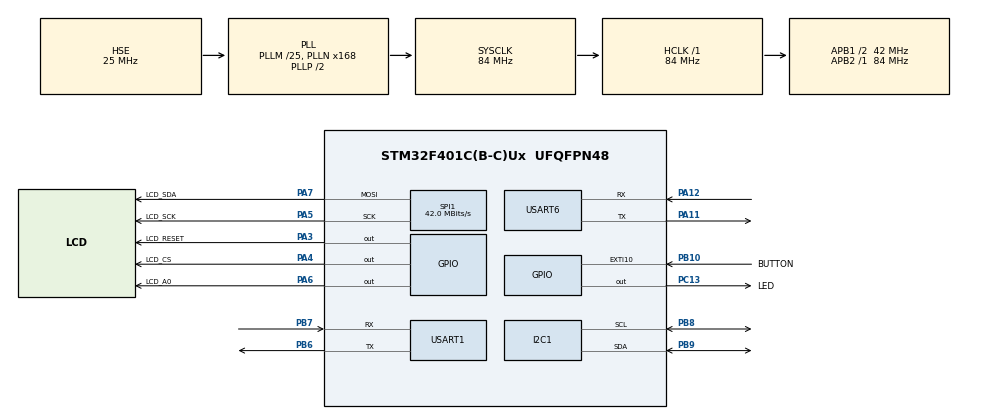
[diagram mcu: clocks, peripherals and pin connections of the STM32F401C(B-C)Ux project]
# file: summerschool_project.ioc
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Dma.Request0=USART1_RX
Dma.USART1_RX.0.Direction=DMA_PERIPH_TO_MEMORY
Dma.USART1_RX.0.FIFOMode=DMA_FIFOMODE_DISABLE
Dma.USART1_RX.0.Instance=DMA2_Stream2
Dma.USART1_RX.0.MemDataAlignment=DMA_MDATAALIGN_BYTE
Dma.USART1_RX.0.MemInc=DMA_MINC_ENABLE
Dma.USART1_RX.0.Mode=DMA_CIRCULAR
Dma.USART1_RX.0.PeriphDataAlignment=DMA_PDATAALIGN_BYTE
Dma.USART1_RX.0.PeriphInc=DMA_PINC_DISABLE
Dma.USART1_RX.0.Priority=DMA_PRIORITY_MEDIUM
FREERTOS.BinarySemaphores01=semUART_TX_WIFI,Dynamic,NULL;semUART_RX_WIFI,Dynamic,NULL
FREERTOS.Mutexes01=muxUART_LOG,Dynamic,NULL;muxLCD,Dynamic,NULL;muxUART_WIFI,Dynamic,NULL
FREERTOS.Tasks01=taskWIFI,24,128,StartTaskWIFI,Default,NULL,Dynamic,NULL,NULL
FREERTOS.configTICK_RATE_HZ=500
FREERTOS.configUSE_NEWLIB_REENTRANT=1
Mcu.Family=STM32F4
Mcu.Name=STM32F401C(B-C)Ux
Mcu.Package=UFQFPN48
NVIC.DMA2_Stream2_IRQn=true\:5\:0\:false\:false\:true\:true\:false\:true\:true
NVIC.EXTI15_10_IRQn=true\:5\:0\:false\:false\:true\:true\:true\:true\:true
NVIC.PriorityGroup=NVIC_PRIORITYGROUP_4
NVIC.TIM1_BRK_TIM9_IRQn=true\:5\:0\:false\:false\:true\:true\:true\:true\:true
NVIC.USART6_IRQn=true\:5\:0\:false\:false\:true\:true\:true\:true\:true
PA11.Mode=Asynchronous
PA11.Signal=USART6_TX
PA12.Mode=Asynchronous
PA12.Signal=USART6_RX
PA13.Mode=Serial_Wire
PA13.Signal=SYS_JTMS-SWDIO
PA14.Mode=Serial_Wire
PA14.Signal=SYS_JTCK-SWCLK
PA3.GPIO_Label=LCD_RESET
PA3.PinState=GPIO_PIN_SET
PA3.Signal=GPIO_Output
PA4.GPIO_Label=LCD_CS
PA4.PinState=GPIO_PIN_SET
PA4.Signal=GPIO_Output
PA5.GPIO_Label=LCD_SCK
PA5.Mode=TX_Only_Simplex_Unidirect_Master
PA5.Signal=SPI1_SCK
PA6.GPIO_Label=LCD_A0
PA6.PinState=GPIO_PIN_SET
PA6.Signal=GPIO_Output
PA7.GPIO_Label=LCD_SDA
PA7.Mode=TX_Only_Simplex_Unidirect_Master
PA7.Signal=SPI1_MOSI
PB10.GPIO_Label=BUTTON
PB10.Signal=GPXTI10
PB6.Mode=Asynchronous
PB6.Signal=USART1_TX
PB7.Mode=Asynchronous
PB7.Signal=USART1_RX
PB8.GPIO_Pu=GPIO_PULLUP
PB8.Mode=I2C
PB8.Signal=I2C1_SCL
PB9.GPIO_Pu=GPIO_PULLUP
PB9.Mode=I2C
PB9.Signal=I2C1_SDA
PC13-ANTI_TAMP.GPIO_Label=LED
PC13-ANTI_TAMP.PinState=GPIO_PIN_SET
PC13-ANTI_TAMP.Signal=GPIO_Output
PH0\ -\ OSC_IN.Mode=HSE-External-Oscillator
PH0\ -\ OSC_IN.Signal=RCC_OSC_IN
PH1\ -\ OSC_OUT.Mode=HSE-External-Oscillator
PH1\ -\ OSC_OUT.Signal=RCC_OSC_OUT
ProjectManager.HeapSize=0x200
ProjectManager.StackSize=0x400
ProjectManager.TargetToolchain=STM32CubeIDE
RCC.48MHZClocksFreq_Value=42000000
RCC.AHBFreq_Value=84000000
RCC.APB1CLKDivider=RCC_HCLK_DIV2
RCC.APB1Freq_Value=42000000
RCC.APB1TimFreq_Value=84000000
RCC.APB2Freq_Value=84000000
RCC.APB2TimFreq_Value=84000000
RCC.CortexFreq_Value=84000000
RCC.HCLKFreq_Value=84000000
RCC.HSE_VALUE=25000000
RCC.HSI_VALUE=16000000
RCC.LSE_VALUE=32768
RCC.PLLM=25
RCC.PLLN=168
RCC.PLLSourceVirtual=RCC_PLLSOURCE_HSE
RCC.SYSCLKFreq_VALUE=84000000
RCC.SYSCLKSource=RCC_SYSCLKSOURCE_PLLCLK
RCC.VCOOutputFreq_Value=168000000
SPI1.CalculateBaudRate=42.0 MBits/s
SPI1.Direction=SPI_DIRECTION_2LINES
SPI1.Mode=SPI_MODE_MASTER
SPI1.VirtualType=VM_MASTER
TIM9.AutoReloadPreload=TIM_AUTORELOAD_PRELOAD_DISABLE
TIM9.Period=49999
TIM9.Prescaler=839
USART1.VirtualMode=VM_ASYNC
USART6.VirtualMode=VM_ASYNC
VP_FREERTOS_VS_CMSIS_V2.Mode=CMSIS_V2
VP_TIM9_VS_ClockSourceINT.Mode=Internal
board=custom

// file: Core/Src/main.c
/* USER CODE BEGIN Header */
/**
  ******************************************************************************
  * @file           : main.c
  * @brief          : Main program body
  ******************************************************************************
  * @attention
  *
  * Copyright (c) 2022 STMicroelectronics.
  * All rights reserved.
  *
  * This software is licensed under terms that can be found in the LICENSE file
  * in the root directory of this software component.
  * If no LICENSE file comes with this software, it is provided AS-IS.
  *
  ******************************************************************************
  */
/* USER CODE END Header */
#include "main.h"
#include "cmsis_os.h"

/* USER CODE BEGIN Includes */
#include "baro.h"
#include "lcd.h"
#include "wifi_at.h"
#include <stdio.h>	// snprintf
#include <string.h>	// memset
#include <math.h>	// sin
#include <stdlib.h>	// rand

/* USER CODE END Includes */

/* USER CODE BEGIN PD */
#define countof(_a)	(sizeof(_a) / sizeof(_a[0]))
#define UART_RX_BUF_SIZE	200

/* USER CODE END PD */

I2C_HandleTypeDef hi2c1;

SPI_HandleTypeDef hspi1;

TIM_HandleTypeDef htim9;

UART_HandleTypeDef huart1;
UART_HandleTypeDef huart6;
DMA_HandleTypeDef hdma_usart1_rx;

/* Definitions for taskWIFI */
osThreadId_t taskWIFIHandle;
const osThreadAttr_t taskWIFI_attributes = {
  .name = "taskWIFI",
  .stack_size = 128 * 4,
  .priority = (osPriority_t) osPriorityNormal,
};
/* Definitions for muxUART_LOG */
osMutexId_t muxUART_LOGHandle;
const osMutexAttr_t muxUART_LOG_attributes = {
  .name = "muxUART_LOG"
};
/* Definitions for muxLCD */
osMutexId_t muxLCDHandle;
const osMutexAttr_t muxLCD_attributes = {
  .name = "muxLCD"
};
/* Definitions for muxUART_WIFI */
osMutexId_t muxUART_WIFIHandle;
const osMutexAttr_t muxUART_WIFI_attributes = {
  .name = "muxUART_WIFI"
};
/* Definitions for semUART_TX_WIFI */
osSemaphoreId_t semUART_TX_WIFIHandle;
const osSemaphoreAttr_t semUART_TX_WIFI_attributes = {
  .name = "semUART_TX_WIFI"
};
/* Definitions for semUART_RX_WIFI */
osSemaphoreId_t semUART_RX_WIFIHandle;
const osSemaphoreAttr_t semUART_RX_WIFI_attributes = {
  .name = "semUART_RX_WIFI"
};
/* USER CODE BEGIN PV */
static uint8_t rx_buffer[UART_RX_BUF_SIZE];
static uint8_t *rx_head = rx_buffer, *rx_tail = rx_buffer;

/* USER CODE END PV */

void SystemClock_Config(void);
static void MX_GPIO_Init(void);
static void MX_DMA_Init(void);
static void MX_TIM9_Init(void);
static void MX_USART1_UART_Init(void);
static void MX_I2C1_Init(void);
static void MX_SPI1_Init(void);
static void MX_USART6_UART_Init(void);
void StartTaskWIFI(void *argument);

/* USER CODE BEGIN 0 */
char text[100];

int __io_getchar(void) {
	rx_head = &rx_buffer[UART_RX_BUF_SIZE - hdma_usart1_rx.Instance->NDTR];

	while (rx_tail == rx_head) {
		rx_head = &rx_buffer[UART_RX_BUF_SIZE - hdma_usart1_rx.Instance->NDTR];
 		osDelay(1);
	}

	uint8_t b = *rx_tail;

	if (++rx_tail == (rx_buffer + UART_RX_BUF_SIZE))
		rx_tail = rx_buffer;

	return (int)b;
}

int __io_putchar(int ch) {
	HAL_UART_Transmit(&huart1, (uint8_t*)&ch, 1, 100);
	return 0;
}

/* USER CODE END 0 */

int main(void)
{

  /* MCU Configuration--------------------------------------------------------*/

  /* Reset of all peripherals, Initializes the Flash interface and the Systick. */
  HAL_Init();

  /* Configure the system clock */
  SystemClock_Config();

  /* Initialize all configured peripherals */
  MX_GPIO_Init();
  MX_DMA_Init();
  MX_TIM9_Init();
  MX_USART1_UART_Init();
  MX_I2C1_Init();
  MX_SPI1_Init();
  MX_USART6_UART_Init();
  /* USER CODE BEGIN 2 */

  if (HAL_UART_Receive_DMA(&huart1, rx_buffer, sizeof(rx_buffer)) != HAL_OK) {
	  snprintf(text, countof(text), "Error start UART RX %d\n", __LINE__);
	  HAL_UART_Transmit(&huart1, (uint8_t*)text, strnlen(text, countof(text)), 1000);
	  while (1) {}
  }

  snprintf(text, countof(text), "Start UART RX %d\n", __LINE__);
  HAL_UART_Transmit(&huart1, (uint8_t*)text, strnlen(text, countof(text)), 1000);

//  if (baro_init() != BARO_OK) {
//	  snprintf(text, countof(text), "Error init baro\n");
//	  HAL_UART_Transmit(&huart1, (uint8_t*)text, strnlen(text, countof(text)), 1000);
//	  while (1) {}
//  }

//  for (uint16_t p = 0; p < 100; p++) {
//	  lcd_pixel(p, p+0, ST7735_RED);
//	  lcd_pixel(p, p+1, ST7735_GREEN);
//	  lcd_pixel(p, p+2, ST7735_BLUE);
//  }
//
//  lcd_fill_rect(10, 10, 50, 50, ST7735_CYAN);
//  lcd_fill_rect(50, 50, 150, 150, ST7735_MAGENTA);
//  lcd_rect(5, 5, 15, 15, ST77XX_ORANGE);
//  lcd_rect(200, 200, 15, 15, ST77XX_ORANGE);
//  lcd_line(13, 19, 37, 93, ST77XX_GREEN);
//  lcd_line(13, 19, 93, 37, ST77XX_GREEN);
//  lcd_circle(22, 55, 76, ST77XX_RED);
//  lcd_fill_circle(33, 66, 19, ST77XX_BLUE);
//  lcd_print("Hello LCD!");
//  lcd_set_text_color(ST7735_CYAN);
//  lcd_set_text_bg_color(ST7735_ORANGE);
//  lcd_print("\nNew line!");

  /* USER CODE END 2 */

  /* Init scheduler */
  osKernelInitialize();
  /* Create the mutex(es) */
  /* creation of muxUART_LOG */
  muxUART_LOGHandle = osMutexNew(&muxUART_LOG_attributes);

  /* creation of muxLCD */
  muxLCDHandle = osMutexNew(&muxLCD_attributes);

  /* creation of muxUART_WIFI */
  muxUART_WIFIHandle = osMutexNew(&muxUART_WIFI_attributes);

  /* Create the semaphores(s) */
  /* creation of semUART_TX_WIFI */
  semUART_TX_WIFIHandle = osSemaphoreNew(1, 1, &semUART_TX_WIFI_attributes);

  /* creation of semUART_RX_WIFI */
  semUART_RX_WIFIHandle = osSemaphoreNew(1, 1, &semUART_RX_WIFI_attributes);

  /* Create the thread(s) */
  /* creation of taskWIFI */
  taskWIFIHandle = osThreadNew(StartTaskWIFI, NULL, &taskWIFI_attributes);

  /* USER CODE BEGIN RTOS_EVENTS */
  /* add events, ... */
  lcd_init();

  /* USER CODE END RTOS_EVENTS */

  /* Start scheduler */
  osKernelStart();

  /* We should never get here as control is now taken by the scheduler */
  /* Infinite loop */
  /* USER CODE BEGIN WHILE */
  printf("This text is from printf(), %d, %s, %s\n", __LINE__, __FILE__, __FUNCTION__);

  while (1)
  {
	  int c = __io_getchar();
	  HAL_UART_Transmit(&huart1, (uint8_t*)&c, 1, 1000);

    /* USER CODE END WHILE */

  }
}

void SystemClock_Config(void)
{
  RCC_OscInitTypeDef RCC_OscInitStruct = {0};
  RCC_ClkInitTypeDef RCC_ClkInitStruct = {0};

  /** Configure the main internal regulator output voltage
  */
  __HAL_RCC_PWR_CLK_ENABLE();
  __HAL_PWR_VOLTAGESCALING_CONFIG(PWR_REGULATOR_VOLTAGE_SCALE2);

  /** Initializes the RCC Oscillators according to the specified parameters
  * in the RCC_OscInitTypeDef structure.
  */
  RCC_OscInitStruct.OscillatorType = RCC_OSCILLATORTYPE_HSE;
  RCC_OscInitStruct.HSEState = RCC_HSE_ON;
  RCC_OscInitStruct.PLL.PLLState = RCC_PLL_ON;
  RCC_OscInitStruct.PLL.PLLSource = RCC_PLLSOURCE_HSE;
  RCC_OscInitStruct.PLL.PLLM = 25;
  RCC_OscInitStruct.PLL.PLLN = 168;
  RCC_OscInitStruct.PLL.PLLP = RCC_PLLP_DIV2;
  RCC_OscInitStruct.PLL.PLLQ = 4;
  if (HAL_RCC_OscConfig(&RCC_OscInitStruct) != HAL_OK)
  {
    Error_Handler();
  }

  /** Initializes the CPU, AHB and APB buses clocks
  */
  RCC_ClkInitStruct.ClockType = RCC_CLOCKTYPE_HCLK|RCC_CLOCKTYPE_SYSCLK
                              |RCC_CLOCKTYPE_PCLK1|RCC_CLOCKTYPE_PCLK2;
  RCC_ClkInitStruct.SYSCLKSource = RCC_SYSCLKSOURCE_PLLCLK;
  RCC_ClkInitStruct.AHBCLKDivider = RCC_SYSCLK_DIV1;
  RCC_ClkInitStruct.APB1CLKDivider = RCC_HCLK_DIV2;
  RCC_ClkInitStruct.APB2CLKDivider = RCC_HCLK_DIV1;

  if (HAL_RCC_ClockConfig(&RCC_ClkInitStruct, FLASH_LATENCY_2) != HAL_OK)
  {
    Error_Handler();
  }
}

static void MX_I2C1_Init(void)
{

  hi2c1.Instance = I2C1;
  hi2c1.Init.ClockSpeed = 100000;
  hi2c1.Init.DutyCycle = I2C_DUTYCYCLE_2;
  hi2c1.Init.OwnAddress1 = 0;
  hi2c1.Init.AddressingMode = I2C_ADDRESSINGMODE_7BIT;
  hi2c1.Init.DualAddressMode = I2C_DUALADDRESS_DISABLE;
  hi2c1.Init.OwnAddress2 = 0;
  hi2c1.Init.GeneralCallMode = I2C_GENERALCALL_DISABLE;
  hi2c1.Init.NoStretchMode = I2C_NOSTRETCH_DISABLE;
  if (HAL_I2C_Init(&hi2c1) != HAL_OK)
  {
    Error_Handler();
  }

}

static void MX_SPI1_Init(void)
{

  /* SPI1 parameter configuration*/
  hspi1.Instance = SPI1;
  hspi1.Init.Mode = SPI_MODE_MASTER;
  hspi1.Init.Direction = SPI_DIRECTION_2LINES;
  hspi1.Init.DataSize = SPI_DATASIZE_8BIT;
  hspi1.Init.CLKPolarity = SPI_POLARITY_LOW;
  hspi1.Init.CLKPhase = SPI_PHASE_1EDGE;
  hspi1.Init.NSS = SPI_NSS_SOFT;
  hspi1.Init.BaudRatePrescaler = SPI_BAUDRATEPRESCALER_2;
  hspi1.Init.FirstBit = SPI_FIRSTBIT_MSB;
  hspi1.Init.TIMode = SPI_TIMODE_DISABLE;
  hspi1.Init.CRCCalculation = SPI_CRCCALCULATION_DISABLE;
  hspi1.Init.CRCPolynomial = 10;
  if (HAL_SPI_Init(&hspi1) != HAL_OK)
  {
    Error_Handler();
  }

}

static void MX_TIM9_Init(void)
{

  TIM_ClockConfigTypeDef sClockSourceConfig = {0};

  htim9.Instance = TIM9;
  htim9.Init.Prescaler = 839;
  htim9.Init.CounterMode = TIM_COUNTERMODE_UP;
  htim9.Init.Period = 49999;
  htim9.Init.ClockDivision = TIM_CLOCKDIVISION_DIV1;
  htim9.Init.AutoReloadPreload = TIM_AUTORELOAD_PRELOAD_DISABLE;
  if (HAL_TIM_Base_Init(&htim9) != HAL_OK)
  {
    Error_Handler();
  }
  sClockSourceConfig.ClockSource = TIM_CLOCKSOURCE_INTERNAL;
  if (HAL_TIM_ConfigClockSource(&htim9, &sClockSourceConfig) != HAL_OK)
  {
    Error_Handler();
  }

}

static void MX_USART1_UART_Init(void)
{

  huart1.Instance = USART1;
  huart1.Init.BaudRate = 115200;
  huart1.Init.WordLength = UART_WORDLENGTH_8B;
  huart1.Init.StopBits = UART_STOPBITS_1;
  huart1.Init.Parity = UART_PARITY_NONE;
  huart1.Init.Mode = UART_MODE_TX_RX;
  huart1.Init.HwFlowCtl = UART_HWCONTROL_NONE;
  huart1.Init.OverSampling = UART_OVERSAMPLING_16;
  if (HAL_UART_Init(&huart1) != HAL_OK)
  {
    Error_Handler();
  }

}

static void MX_USART6_UART_Init(void)
{

  huart6.Instance = USART6;
  huart6.Init.BaudRate = 115200;
  huart6.Init.WordLength = UART_WORDLENGTH_8B;
  huart6.Init.StopBits = UART_STOPBITS_1;
  huart6.Init.Parity = UART_PARITY_NONE;
  huart6.Init.Mode = UART_MODE_TX_RX;
  huart6.Init.HwFlowCtl = UART_HWCONTROL_NONE;
  huart6.Init.OverSampling = UART_OVERSAMPLING_16;
  if (HAL_UART_Init(&huart6) != HAL_OK)
  {
    Error_Handler();
  }

}

static void MX_DMA_Init(void)
{

  /* DMA controller clock enable */
  __HAL_RCC_DMA2_CLK_ENABLE();

  /* DMA interrupt init */
  /* DMA2_Stream2_IRQn interrupt configuration */
  HAL_NVIC_SetPriority(DMA2_Stream2_IRQn, 5, 0);
  HAL_NVIC_EnableIRQ(DMA2_Stream2_IRQn);

}

static void MX_GPIO_Init(void)
{
  GPIO_InitTypeDef GPIO_InitStruct = {0};

  /* GPIO Ports Clock Enable */
  __HAL_RCC_GPIOC_CLK_ENABLE();
  __HAL_RCC_GPIOH_CLK_ENABLE();
  __HAL_RCC_GPIOA_CLK_ENABLE();
  __HAL_RCC_GPIOB_CLK_ENABLE();

  /*Configure GPIO pin Output Level */
  HAL_GPIO_WritePin(LED_GPIO_Port, LED_Pin, GPIO_PIN_SET);

  /*Configure GPIO pin Output Level */
  HAL_GPIO_WritePin(GPIOA, LCD_RESET_Pin|LCD_CS_Pin|LCD_A0_Pin, GPIO_PIN_SET);

  /*Configure GPIO pin : LED_Pin */
  GPIO_InitStruct.Pin = LED_Pin;
  GPIO_InitStruct.Mode = GPIO_MODE_OUTPUT_PP;
  GPIO_InitStruct.Pull = GPIO_NOPULL;
  GPIO_InitStruct.Speed = GPIO_SPEED_FREQ_LOW;
  HAL_GPIO_Init(LED_GPIO_Port, &GPIO_InitStruct);

  /*Configure GPIO pins : LCD_RESET_Pin LCD_CS_Pin LCD_A0_Pin */
  GPIO_InitStruct.Pin = LCD_RESET_Pin|LCD_CS_Pin|LCD_A0_Pin;
  GPIO_InitStruct.Mode = GPIO_MODE_OUTPUT_PP;
  GPIO_InitStruct.Pull = GPIO_NOPULL;
  GPIO_InitStruct.Speed = GPIO_SPEED_FREQ_LOW;
  HAL_GPIO_Init(GPIOA, &GPIO_InitStruct);

  /*Configure GPIO pin : BUTTON_Pin */
  GPIO_InitStruct.Pin = BUTTON_Pin;
  GPIO_InitStruct.Mode = GPIO_MODE_IT_RISING;
  GPIO_InitStruct.Pull = GPIO_NOPULL;
  HAL_GPIO_Init(BUTTON_GPIO_Port, &GPIO_InitStruct);

  /* EXTI interrupt init*/
  HAL_NVIC_SetPriority(EXTI15_10_IRQn, 5, 0);
  HAL_NVIC_EnableIRQ(EXTI15_10_IRQn);

}

/* USER CODE BEGIN 4 */
void HAL_GPIO_EXTI_Callback(uint16_t GPIO_Pin)
{
}

/* USER CODE END 4 */

void StartTaskWIFI(void *argument)
{
  /* USER CODE BEGIN 5 */
  /* Infinite loop */

  wifi_init();
  wifi_connect_to_ap(ap_name, pass, tmt)

  for(;;)
  {

  }
  /* USER CODE END 5 */
}

void Error_Handler(void)
{
  __disable_irq();
  while (1)
  {
  }
}
